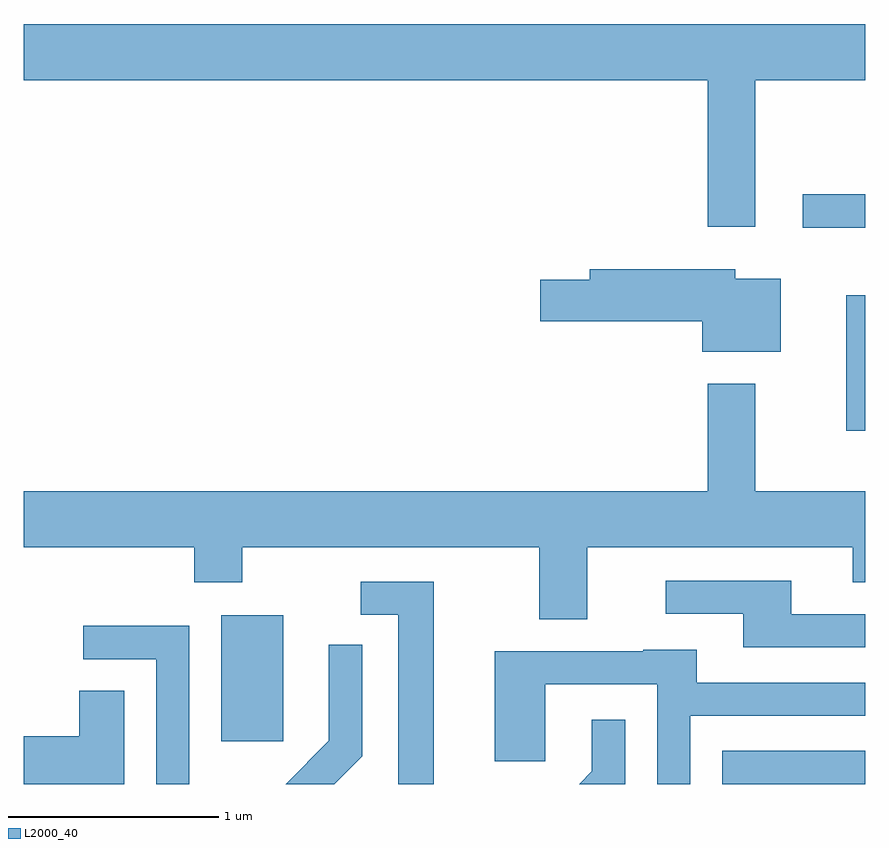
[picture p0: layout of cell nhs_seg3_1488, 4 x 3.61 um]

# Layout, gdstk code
import gdstk
lib = gdstk.Library(unit=1e-6, precision=1e-09)
def R(c, l, rs):  # rectangles x0, y0, x1, y1
    for r in rs: c.add(gdstk.rectangle(r[:2], r[2:], *l))
def P(c, l, *ps):  # polygons
    for p in ps: c.add(gdstk.Polygon(p, *l))
L2000_40 = (2000, 40)

nhs_seg3_1488 = lib.new_cell('nhs_seg3_1488')
R(nhs_seg3_1488, L2000_40, [(230.931,1235.892,231.611,1236.049), (228.551,1236.096,228.844,1236.694), (231.521,1237.571,231.611,1238.214), (231.313,1238.536,231.611,1238.694)])
P(nhs_seg3_1488, L2000_40, [(231.089,1239.236),(231.611,1239.236),(231.611,1239.504),(227.611,1239.504),(227.611,1239.236),(230.861,1239.236),(230.861,1238.541),(231.089,1238.541)],
  [(231.209,1238.294),(230.994,1238.294),(230.994,1238.339),(230.301,1238.339),(230.301,1238.289),(230.066,1238.289),(230.066,1238.091),(230.836,1238.091),(230.836,1237.946),(231.209,1237.946)],
  [(230.289,1237.016),(231.551,1237.016),(231.551,1236.851),(231.611,1236.851),(231.611,1237.284),(231.089,1237.284),(231.089,1237.794),(230.861,1237.794),(230.861,1237.284),(227.611,1237.284),(227.611,1237.016),(228.421,1237.016),(228.421,1236.851),(228.649,1236.851),(228.649,1237.016),(230.061,1237.016),(230.061,1236.676),(230.289,1236.676)],
  [(231.611,1236.699),(231.259,1236.699),(231.259,1236.859),(230.663,1236.859),(230.663,1236.701),(231.031,1236.701),(231.031,1236.541),(231.611,1236.541)],
  [(229.559,1236.854),(229.213,1236.854),(229.213,1236.696),(229.391,1236.696),(229.391,1235.892),(229.559,1235.892)],
  [(228.399,1236.644),(227.893,1236.644),(227.893,1236.486),(228.241,1236.486),(228.241,1235.892),(228.399,1235.892)],
  [(229.219,1236.024),(229.219,1236.553),(229.061,1236.553),(229.061,1236.097),(228.856,1235.892),(229.087,1235.892)],
  [(230.779,1236.216),(231.611,1236.216),(231.611,1236.374),(230.809,1236.374),(230.809,1236.529),(230.555,1236.529),(230.555,1236.524),(229.851,1236.524),(229.851,1236.001),(230.089,1236.001),(230.089,1236.366),(230.621,1236.366),(230.621,1235.892),(230.779,1235.892)],
  [(228.089,1236.334),(227.876,1236.334),(227.876,1236.119),(227.611,1236.119),(227.611,1235.892),(228.089,1235.892)],
  [(230.469,1236.198),(230.311,1236.198),(230.311,1235.952),(230.252,1235.892),(230.469,1235.892)])

lib.write_gds('nhs_seg3_1488.gds')
